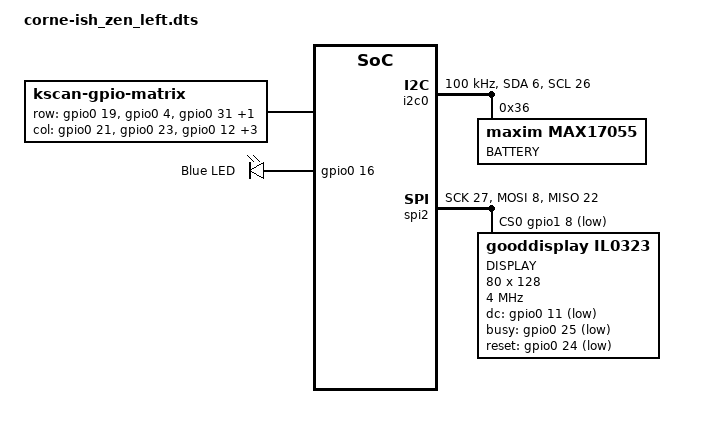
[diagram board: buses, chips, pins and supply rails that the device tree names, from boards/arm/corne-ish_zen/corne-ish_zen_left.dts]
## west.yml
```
manifest:
  remotes:
    - name: zephyrproject-rtos
      url-base: https://github.com/zephyrproject-rtos
    - name: zmkfirmware
      url-base: https://github.com/zmkfirmware
    - name: microsoft
      url-base: https://github.com/microsoft
  projects:
    - name: zephyr
      url: https://github.com/innovaker/zephyr
      revision: v2.4.0+zmk-fixes
      clone-depth: 1
      import:
        # TODO: Rename once upstream offers option like `exclude` or `denylist`
        name-blacklist:
          - ci-tools
          - hal_atmel
          - hal_altera
          - hal_cypress
          - hal_infineon
          - hal_microchip
          - hal_nxp
          - hal_openisa
          - hal_silabs
          - hal_xtensa
          - hal_st
          - hal_ti
          - loramac-node
          - mcuboot
          - mcumgr
          - net-tools
          - segger
          - openthread
          - edtt
          - trusted-firmware-m
    - name: uf2
      remote: microsoft
      path: tools/uf2
      clone-depth: 1
  self:
    west-commands: scripts/west-commands.yml
```

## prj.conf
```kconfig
# Turn on logging, and set ZMK logging to debug output
CONFIG_LOG=y
CONFIG_ZMK_LOG_LEVEL_DBG=y
CONFIG_LOG_BUFFER_SIZE=4096
CONFIG_LOG_STRDUP_BUF_COUNT=16
#CONFIG_DISPLAY_LOG_LEVEL_DBG=y
#CONFIG_SPI_LOG_LEVEL_DBG=y

# Turn on USB CDC ACM device
CONFIG_USB=y
CONFIG_USB_DEVICE_STACK=y
CONFIG_USB_CDC_ACM=y
CONFIG_USB_CDC_ACM_RINGBUF_SIZE=1024
CONFIG_USB_CDC_ACM_DEVICE_NAME="CDC_ACM"
CONFIG_USB_CDC_ACM_DEVICE_COUNT=1

# Enable serial console
CONFIG_SERIAL=y
CONFIG_CONSOLE=y
CONFIG_UART_INTERRUPT_DRIVEN=y
CONFIG_UART_LINE_CTRL=y

# Enable USB UART, and set the console device
CONFIG_UART_CONSOLE=y
CONFIG_USB_UART_CONSOLE=y
CONFIG_UART_CONSOLE_ON_DEV_NAME="CDC_ACM_0"
# CONFIG_USB_UART_DTR_WAIT=n
```

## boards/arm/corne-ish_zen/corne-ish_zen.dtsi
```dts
/*
 * Copyright (c) 2020 Darryl deHaan
 *
 * SPDX-License-Identifier: MIT
 */

/dts-v1/;
#include <nordic/nrf52840_qiaa.dtsi>

#include <dt-bindings/zmk/matrix-transform.h>

/ {
	model = "corne-ish_zen";
	compatible = "corne-ish_zen";  /*  is this needed? */

	chosen {
		zephyr,code-partition = &code_partition;
		zephyr,sram = &sram0;
		zephyr,flash = &flash0;
		zmk,kscan = &kscan0;
		zmk,matrix_transform = &default_transform;
		zmk,display = &epd;
	};

	default_transform: keymap_transform_0 {
		compatible = "zmk,matrix-transform";
		columns = <12>;
		rows = <4>;

			// | SW1  | SW2  | SW3  | SW4  | SW5  | SW6  |   | SW6  | SW5  | SW4  | SW3  | SW2  | SW1  |
			// | SW7  | SW8  | SW9  | SW10 | SW11 | SW12 |   | SW12 | SW11 | SW10 | SW9  | SW8  | SW7  |
			// | SW13 | SW14 | SW15 | SW16 | SW17 | SW18 |   | SW18 | SW17 | SW16 | SW15 | SW14 | SW13 |
			//                      | SW19 | SW20 | SW21 |   | SW21 | SW20 | SW19 |
					map = <
			RC(0,0) RC(0,1) RC(0,2) RC(0,3) RC(0,4) RC(0,5)  RC(0,6) RC(0,7) RC(0,8) RC(0,9) RC(0,10) RC(0,11)
			RC(1,0) RC(1,1) RC(1,2) RC(1,3) RC(1,4) RC(1,5)  RC(1,6) RC(1,7) RC(1,8) RC(1,9) RC(1,10) RC(1,11)
			RC(2,0) RC(2,1) RC(2,2) RC(2,3) RC(2,4) RC(2,5)  RC(2,6) RC(2,7) RC(2,8) RC(2,9) RC(2,10) RC(2,11)
									RC(3,3) RC(3,4) RC(3,5)  RC(3,6) RC(3,7) RC(3,8)
		>;
	};

	five_column_transform: keymap_transform_1 {
		compatible = "zmk,matrix-transform";
		columns = <10>;
		rows = <4>;

			// | SW2  | SW3  | SW4  | SW5  | SW6  |   | SW6  | SW5  | SW4  | SW3  | SW2  |
			// | SW8  | SW9  | SW10 | SW11 | SW12 |   | SW12 | SW11 | SW10 | SW9  | SW8  |
			// | SW14 | SW15 | SW16 | SW17 | SW18 |   | SW18 | SW17 | SW16 | SW15 | SW14 |
			//               | SW19 | SW20 | SW21 |   | SW21 | SW20 | SW19 |
					map = <
			RC(0,1) RC(0,2) RC(0,3) RC(0,4) RC(0,5)  RC(0,6) RC(0,7) RC(0,8) RC(0,9) RC(0,10)
			RC(1,1) RC(1,2) RC(1,3) RC(1,4) RC(1,5)  RC(1,6) RC(1,7) RC(1,8) RC(1,9) RC(1,10)
			RC(2,1) RC(2,2) RC(2,3) RC(2,4) RC(2,5)  RC(2,6) RC(2,7) RC(2,8) RC(2,9) RC(2,10)
									RC(3,3) RC(3,4) RC(3,5)  RC(3,6) RC(3,7) RC(3,8)
		>;
	};


	/* sensors {
		compatible = "zmk,keymap-sensors";
		sensors = <&left_encoder>;
	};

	is this needed? 
	ext-power {
		compatible = "zmk,ext-power-generic";
		label = "EXT_POWER";
		control-gpios = <&gpio0 13 GPIO_ACTIVE_LOW>;   //figure out pin 
	};

	vbatt {
		compatible = "zmk,battery-voltage-divider";  // is this needed?
		label = "BATTERY";
		io-channels = <&adc 2>;
		output-ohms = <2000000>;              // do these values need to be change? 
		full-ohms = <(2000000 + 806000)>;
	};
	*/
};


&adc {
	status = "okay";
};

&gpiote {
	status = "okay";
};

&gpio0 {
	status = "okay";
};

&gpio1 {
	status = "okay";
};

&usbd {
	status = "okay";
};

&uart0 {
	compatible = "nordic,nrf-uarte";
	status = "okay";
	current-speed = <115200>;
	tx-pin = <39>;
	rx-pin = <44>;
	rts-pin = <34>;
	cts-pin = <9>;
};


&flash0 {
	/*
	 * For more information, see:
	 * http://docs.zephyrproject.org/latest/devices/dts/flash_partitions.html
	 */
	partitions {
		compatible = "fixed-partitions";
		#address-cells = <1>;
		#size-cells = <1>;

		sd_partition: partition@0 {
			label = "softdevice";
			reg = <0x00000000 0x00026000>;
		};
		code_partition: partition@26000 {
			label = "code_partition";
			reg = <0x00026000 0x000c6000>;
		};

		/*
		 * The flash starting at 0x000ec000 and ending at
		 * 0x000f3fff is reserved for use by the application.
		 */

		/*
		 * Storage partition will be used by FCB/LittleFS/NVS
		 * if enabled.
		 */
		storage_partition: partition@ec000 {
			label = "storage";
			reg = <0x000ec000 0x00008000>;
		};

		boot_partition: partition@f4000 {
			label = "adafruit_boot";
			reg = <0x000f4000 0x0000c000>;
		};
	};
};
```

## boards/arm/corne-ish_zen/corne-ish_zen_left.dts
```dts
/*
 * Copyright (c) 2020 Darryl deHaan
 *
 * SPDX-License-Identifier: MIT
 */

#include "corne-ish_zen.dtsi"

/{
	kscan0: kscan {
		compatible = "zmk,kscan-gpio-matrix";
		label = "KSCAN";

		diode-direction = "col2row";
		row-gpios
			= <&gpio0 19 (GPIO_ACTIVE_HIGH | GPIO_PULL_DOWN)>
			, <&gpio0 4 (GPIO_ACTIVE_HIGH | GPIO_PULL_DOWN)>
			, <&gpio0 31 (GPIO_ACTIVE_HIGH | GPIO_PULL_DOWN)>
			, <&gpio0 30 (GPIO_ACTIVE_HIGH | GPIO_PULL_DOWN)>
			;

		col-gpios
			= <&gpio0 21 GPIO_ACTIVE_HIGH>
			, <&gpio0 23 GPIO_ACTIVE_HIGH>
			, <&gpio0 12 GPIO_ACTIVE_HIGH>
			, <&gpio1  9 GPIO_ACTIVE_HIGH>
			, <&gpio0  7 GPIO_ACTIVE_HIGH>
			, <&gpio0  5 GPIO_ACTIVE_HIGH>
			;	
	};

	leds {
		compatible = "gpio-leds";
		blue_led: led_0 {
			gpios = <&gpio0 16 GPIO_ACTIVE_HIGH>;
			label = "Blue LED";
		};
	};

};

&i2c0 {
	status = "ok";
	compatible = "nordic,nrf-twim";
	sda-pin = <6>;
	scl-pin = <26>;
	clock-frequency = <100000>; 

	fuelgauge: max17055@36 {
		status = "ok";
		compatible = "maxim,max17055";
		label = "BATTERY";
		reg = <0x36>;
		design-voltage = <3700>;
		desired-voltage = <4200>;
		desired-charging-current = <150>;
		rsense-mohms = <10>;
	};
};

&spi2  {
	status = "okay";
	compatible = "nordic,nrf-spim";
	sck-pin = <27>;
	mosi-pin = <8>;
	miso-pin = <22>;
	cs-gpios = <&gpio1 8 GPIO_ACTIVE_LOW>;

	epd: il0323@0 {
		compatible = "gooddisplay,il0323";
		reg =  <0>;
		label = "DISPLAY";
		width = <80>;
		height = <128>;
		spi-max-frequency = <4000000>;
		dc-gpios = <&gpio0 11 GPIO_ACTIVE_LOW>;
		busy-gpios = <&gpio0 25 GPIO_ACTIVE_LOW>;
		reset-gpios = <&gpio0 24 GPIO_ACTIVE_LOW>;
		pwr = [03 00 26 26];
		//softstart = [17 17 17 17];
		cdi = <0xd2>;
		tcon = <0x22>;
	};
};

/* 
&bt_unpair_combo {
	key-positions = <0 38>;
};
*/
```

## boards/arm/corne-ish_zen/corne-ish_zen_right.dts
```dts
/*
 * Copyright (c) 2020 Darryl deHaan
 *
 * SPDX-License-Identifier: MIT
 */

#include "corne-ish_zen.dtsi"

/{

	

	kscan0: kscan {
		compatible = "zmk,kscan-gpio-matrix";
		label = "KSCAN";

		diode-direction = "col2row";
		row-gpios
			= <&gpio0 22 (GPIO_ACTIVE_HIGH | GPIO_PULL_DOWN)>
			, <&gpio1  0 (GPIO_ACTIVE_HIGH | GPIO_PULL_DOWN)>
			, <&gpio1  3 (GPIO_ACTIVE_HIGH | GPIO_PULL_DOWN)>
			, <&gpio1  1 (GPIO_ACTIVE_HIGH | GPIO_PULL_DOWN)>
			;

		col-gpios
			= <&gpio0 19 GPIO_ACTIVE_HIGH>
			, <&gpio0 21 GPIO_ACTIVE_HIGH>
			, <&gpio0 23 GPIO_ACTIVE_HIGH>
			, <&gpio0 12 GPIO_ACTIVE_HIGH>
			, <&gpio1  9 GPIO_ACTIVE_HIGH>
			, <&gpio0  7 GPIO_ACTIVE_HIGH>
			;
		
	};

	leds {
			compatible = "gpio-leds";
			blue_led: led_0 {
				gpios = <&gpio0 26 GPIO_ACTIVE_HIGH>;
				label = "Blue LED";
			};
		};

};

&default_transform {
		col-offset = <6>;
	};

&i2c0 {
	status = "ok";
	compatible = "nordic,nrf-twim";
	sda-pin = <16>;
	scl-pin = <13>;
	clock-frequency = <100000>; 

	fuelgauge: max17055@36 {
		status = "ok";
		compatible = "maxim,max17055";
		label = "BATTERY";
		reg = <0x36>;
		design-voltage = <3700>;
		desired-voltage = <4200>;
		desired-charging-current = <150>;
		rsense-mohms = <10>;
	};
};

&spi2 {
	status = "okay";
	compatible = "nordic,nrf-spim";
	sck-pin = <20>;
	mosi-pin = <24>;
	miso-pin = <27>;
	cs-gpios = <&gpio0 17 GPIO_ACTIVE_LOW>;

	epd: il0323@0 {
		compatible = "gooddisplay,il0323";
		reg =  <0>;
		label = "DISPLAY";
		width = <80>;
		height = <128>;
		spi-max-frequency = <4000000>;
		dc-gpios = <&gpio0 15 GPIO_ACTIVE_LOW>;
		busy-gpios = <&gpio0 14 GPIO_ACTIVE_LOW>;
		reset-gpios = <&gpio0 25 GPIO_ACTIVE_LOW>;
		pwr = [03 00 26 26];
		//softstart = [17 17 17 17];
		cdi = <0xd2>;
		tcon = <0x22>;
	};
};

/*
&i2c_max17055: max17055@49 {
	compatible = "maxim,max17055";
	label = "max17055";
	reg = <0x49>;
	design-voltage = <3860>;
	desired-voltage = <4400>;
	desired-charging-current = <2000>;
	rsense-mohms = <10>;
};
*/
```

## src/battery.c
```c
/*
 * Copyright (c) 2020 The ZMK Contributors
 *
 * SPDX-License-Identifier: MIT
 */

#include <device.h>
#include <init.h>
#include <kernel.h>
#include <drivers/sensor.h>
#include <bluetooth/services/bas.h>
#include <stdio.h>

#include <logging/log.h>

LOG_MODULE_DECLARE(zmk, CONFIG_ZMK_LOG_LEVEL);

#include <zmk/event_manager.h>
#include <zmk/events/battery_state_changed.h>

const struct device *battery;

static int zmk_battery_update(const struct device *battery) {

    struct sensor_value voltage, current, state_of_charge, full_charge_capacity,
        remaining_charge_capacity, avg_power, int_temp, current_standby, current_max_load,
        state_of_health, int_ttempty, int_ttfull, chargeCyles, nominal_capacity, designed_voltage,
        desired_voltage, desired_charge_current;

    int status = 0;
    int rv = 0;

    /* use sensor API to request data from the battery */
    status = sensor_sample_fetch(battery);

    if (status != 0) {
        LOG_DBG("Failed to fetch battery data from sensor");
        return status;
    }

    struct zmk_battery_state_changed data;

    /* ---------- get channel data for State of Charge ---------- */
    status = sensor_channel_get(battery, SENSOR_CHAN_GAUGE_STATE_OF_CHARGE, &state_of_charge);

    if (status != 0 && status != -ENOTSUP) {
        LOG_DBG("Failed to get battery state of charge: %d", status);
        rv++;
    }
    if (status == -ENOTSUP) {
        LOG_DBG("The battery sensor does not support the channel: State of Charge");

    } else {
        LOG_DBG("Setting BAS GATT battery level to %d%%", state_of_charge.val1);

        /* set BAS GATT battery level so it can be displayed at the host */
        status = bt_bas_set_battery_level(state_of_charge.val1);

        if (status != 0) {
            LOG_WRN("Failed to set BAS GATT battery level (err %d)", status);
        }
        /* append this value to the event */
        data.state_of_charge = state_of_charge.val1;
        LOG_DBG("-----> battery State of Charge: %d%%", state_of_charge.val1);
    }

    /* ---------- get channel data for Voltage ---------- */
    status = sensor_channel_get(battery, SENSOR_CHAN_GAUGE_VOLTAGE, &voltage);

    if (status != 0 && status != -ENOTSUP) {
        LOG_DBG("Failed to get battery voltage: %d", status);
        rv++;
    }
    if (status == -ENOTSUP) {
        LOG_DBG("The battery sensor does not support the channel: Voltage");
    } else {
        /* append this value to the event */
        data.voltage = voltage;
        LOG_DBG("-----> battery voltage: %d.%dV", voltage.val1, voltage.val2);
    }

    /* ---------- get channel data for Average Current ---------- */
    status = sensor_channel_get(battery, SENSOR_CHAN_GAUGE_AVG_CURRENT, &current);

    if (status != 0 && status != -ENOTSUP) {
        LOG_DBG("Failed to get battery Average Current: %d", status);
        rv++;
    }
    if (status == -ENOTSUP) {
        LOG_DBG("The battery sensor does not support the channel: Average Current");
    } else {
        /* append this value to the event */
        data.current = current;
        LOG_DBG("-----> battery Average Current: %d.%dmA", current.val1, current.val2);
    }

    /* ---------- get channel data for Full Charge Capacity ---------- */
    status =
        sensor_channel_get(battery, SENSOR_CHAN_GAUGE_FULL_CHARGE_CAPACITY, &full_charge_capacity);

    if (status != 0 && status != -ENOTSUP) {
        LOG_DBG("Failed to get battery Full Charge Capacity: %d", status);
        rv++;
    }
    if (status == -ENOTSUP) {
        LOG_DBG("The battery sensor does not support the channel: Full Charge Capacity");
    } else {
        /* append this value to the event */
        data.full_charge_capacity = full_charge_capacity;
        LOG_DBG("-----> battery Full Charge Capacity: %d.%dmA", full_charge_capacity.val1,
                full_charge_capacity.val2);
    }

    /* ---------- get channel data for Remaining Charge Capacity ---------- */
    status = sensor_channel_get(battery, SENSOR_CHAN_GAUGE_REMAINING_CHARGE_CAPACITY,
                                &remaining_charge_capacity);

    if (status != 0 && status != -ENOTSUP) {
        LOG_DBG("Failed to get battery Remaining Charge Capacity: %d", status);
        rv++;
    }
    if (status == -ENOTSUP) {
        LOG_DBG("The battery sensor does not support the channel: Remaining Charge Capacity");
    } else {
        /* append this value to the event */
        data.remaining_charge_capacity = remaining_charge_capacity;
        LOG_DBG("-----> battery Remaining Charge Capacity: %d.%dmA", remaining_charge_capacity.val1,
                remaining_charge_capacity.val2);
    }

    /* ---------- get channel data for Average Power Usage ---------- */
    status = sensor_channel_get(battery, SENSOR_CHAN_GAUGE_AVG_POWER, &avg_power);

    if (status != 0 && status != -ENOTSUP) {
        LOG_DBG("Failed to get battery Average Power Usage: %d", status);
        rv++;
    }
    if (status == -ENOTSUP) {
        LOG_DBG("The battery sensor does not support the channel: Average Power Usage");
    } else {
        /* append this value to the event */
        data.avg_power = avg_power;
        LOG_DBG("-----> battery Average Power Usage: %d.%dmW", avg_power.val1, avg_power.val2);
    }

    /* ---------- get channel data for Internal IC Temperature ---------- */
    status = sensor_channel_get(battery, SENSOR_CHAN_GAUGE_TEMP, &int_temp);

    if (status != 0 && status != -ENOTSUP) {
        LOG_DBG("Failed to get Internal IC Temperature: %d", status);
        rv++;
    }
    if (status == -ENOTSUP) {
        LOG_DBG("The battery sensor does not support the channel: Internal IC Temperature");
    } else {
        /* append this value to the event */
        data.int_temp = int_temp;
        LOG_DBG("-----> battery Internal IC Temperature: %d.%d C", int_temp.val1, int_temp.val2);
    }

    /* ---------- get channel data for Standby Current ---------- */
    status = sensor_channel_get(battery, SENSOR_CHAN_GAUGE_STDBY_CURRENT, &current_standby);

    if (status != 0 && status != -ENOTSUP) {
        LOG_DBG("Failed to get battery Standby Current: %d", status);
        rv++;
    }
    if (status == -ENOTSUP) {
        LOG_DBG("The battery sensor does not support the channel: Standby Current");
    } else {
        /* append this value to the event */
        data.current_standby = current_standby;
        LOG_DBG("-----> battery Standby Current: %d.%dA", current_standby.val1,
                current_standby.val2);
    }

    /* ---------- get channel data for Maximum Load Current ---------- */
    status = sensor_channel_get(battery, SENSOR_CHAN_GAUGE_MAX_LOAD_CURRENT, &current_max_load);

    if (status != 0 && status != -ENOTSUP) {
        LOG_DBG("Failed to get battery Maximum Load Current: %d", status);
        rv++;
    }
    if (status == -ENOTSUP) {
        LOG_DBG("The battery sensor does not support the channel: Maximum Load Current");
    } else {
        /* append this value to the event */
        data.current_max_load = current_max_load;
        LOG_DBG("-----> battery Maximum Load Current: %d.%dA", current_max_load.val1,
                current_max_load.val2);
    }

    /* ---------- get channel data for State of Health ---------- */
    status = sensor_channel_get(battery, SENSOR_CHAN_GAUGE_STATE_OF_HEALTH, &state_of_health);

    if (status != 0 && status != -ENOTSUP) {
        LOG_DBG("Failed to get battery State of Health: %d", status);
        rv++;
    }
    if (status == -ENOTSUP) {
        LOG_DBG("The battery sensor does not support the channel: State of Health");
    } else {
        /* append this value to the event */
        data.state_of_health = state_of_health.val1;
        LOG_DBG("-----> battery State of Health: %d%%", state_of_health.val1);
    }

    /* ---------- get channel data for Time To Empty ---------- */
    status = sensor_channel_get(battery, SENSOR_CHAN_GAUGE_TIME_TO_EMPTY, &int_ttempty);

    if (status != 0 && status != -ENOTSUP) {
        LOG_DBG("Failed to get battery Time To Empty: %d", status);
        rv++;
    }
    if (status == -ENOTSUP) {
        LOG_DBG("The battery sensor does not support the channel: Time To Empty");
    } else {
        /* append this value to the event */
        data.time_till_empty = int_ttempty;
        LOG_DBG("-----> battery Time To Empty: %d.%dS", int_ttempty.val1, int_ttempty.val2);
    }

    /* ---------- get channel data for Time To Full ---------- */
    status = sensor_channel_get(battery, SENSOR_CHAN_GAUGE_TIME_TO_FULL, &int_ttfull);

    if (status != 0 && status != -ENOTSUP) {
        LOG_DBG("Failed to get battery Time To Full: %d", status);
        rv++;
    }
    if (status == -ENOTSUP) {
        LOG_DBG("The battery sensor does not support the channel: Time To Full");
    } else {
        /* append this value to the event */
        data.time_till_full = int_ttfull;
        LOG_DBG("-----> battery Time To Full: %d.%dS", int_ttfull.val1, int_ttfull.val2);
    }

    /* ---------- get channel data for Charge Cycle Count ---------- */
    status = sensor_channel_get(battery, SENSOR_CHAN_GAUGE_CYCLE_COUNT, &chargeCyles);

    if (status != 0 && status != -ENOTSUP) {
        LOG_DBG("Failed to get battery Charge Cycle Count: %d", status);
        rv++;
    }
    if (status == -ENOTSUP) {
        LOG_DBG("The battery sensor does not support the channel: Charge Cycle Count");
    } else {
        /* append this value to the event */
        data.chargeCyles = chargeCyles.val1 + chargeCyles.val2;
        LOG_DBG("-----> battery Charge Cycle Count: %d", chargeCyles.val1);
    }

    /* ---------- get channel data for Nominal Available Capacity ---------- */
    status = sensor_channel_get(battery, SENSOR_CHAN_GAUGE_NOM_AVAIL_CAPACITY, &nominal_capacity);

    if (status != 0 && status != -ENOTSUP) {
        LOG_DBG("Failed to get battery Nominal Available Capacity: %d", status);
        rv++;
    }
    if (status == -ENOTSUP) {
        LOG_DBG("The battery sensor does not support the channel: Nominal Available Capacity");
    } else {
        /* append this value to the event */
        data.nominal_capacity = nominal_capacity;
        LOG_DBG("-----> battery Nominal Available Capacity: %d.%dmAh", nominal_capacity.val1,
                nominal_capacity.val2);
    }

    /* ---------- get channel data for System Designed Voltage ---------- */
    status = sensor_channel_get(battery, SENSOR_CHAN_GAUGE_DESIGN_VOLTAGE, &designed_voltage);

    if (status != 0 && status != -ENOTSUP) {
        LOG_DBG("Failed to get battery System Designed Voltage: %d", status);
        rv++;
    }
    if (status == -ENOTSUP) {
        LOG_DBG("The battery sensor does not support the channel: System Designed Voltage");
    } else {
        /* append this value to the event */
        data.designed_voltage = designed_voltage;
        LOG_DBG("-----> battery System Designed Voltage: %d.%dV", designed_voltage.val1,
                designed_voltage.val2);
    }

    /* ---------- get channel data for System Desired Voltage ---------- */
    status = sensor_channel_get(battery, SENSOR_CHAN_GAUGE_DESIRED_VOLTAGE, &desired_voltage);

    if (status != 0 && status != -ENOTSUP) {
        LOG_DBG("Failed to get battery System Desired Voltage: %d", status);
        rv++;
    }
    if (status == -ENOTSUP) {
        LOG_DBG("The battery sensor does not support the channel: System Desired Voltage");
    } else {
        /* append this value to the event */
        data.desired_voltage = desired_voltage;
        LOG_DBG("-----> battery System Desired Voltage: %d.%dV", desired_voltage.val1,
                desired_voltage.val2);
    }

    /* ---------- get channel data for System Desired Charging Current ---------- */
    status = sensor_channel_get(battery, SENSOR_CHAN_GAUGE_DESIRED_CHARGING_CURRENT,
                                &desired_charge_current);

    if (status != 0 && status != -ENOTSUP) {
        LOG_DBG("Failed to get battery System Desired Charging Current: %d", status);
        rv++;
    }
    if (status == -ENOTSUP) {
        LOG_DBG("The battery sensor does not support the channel: System Desired Charging Current");
    } else {
        /* append this value to the event */
        data.desired_charge_current = desired_charge_current;
        LOG_DBG("-----> battery System Desired Charging Current: %d.%dmAh",
                desired_charge_current.val1, desired_charge_current.val2);
    }

    /* trigger event to notify of battery sensor value changes */
    ZMK_EVENT_RAISE(new_zmk_battery_state_changed(data));

    return rv;
}

static void zmk_battery_work(struct k_work *work) {
    int rc = zmk_battery_update(battery);

    if (rc != 0) {
        LOG_DBG("Failed to update battery value: %d.", rc);
    }
}

K_WORK_DEFINE(battery_work, zmk_battery_work);

static void zmk_battery_timer(struct k_timer *timer) { k_work_submit(&battery_work); }

K_TIMER_DEFINE(battery_timer, zmk_battery_timer, NULL);

static int zmk_battery_init(const struct device *_arg) {

    LOG_DBG("--- initialization ---");

    battery = device_get_binding("BATTERY");

    if (battery == NULL) {
        LOG_DBG("No device labelled 'BATTERY' found; did initialization fail?");
        return -ENODEV;
    }

    LOG_DBG("--- Device labelled 'BATTERY' found! ---");

    int rc = zmk_battery_update(battery);

    if (rc != 0) {
        LOG_DBG("%d configured BATTERY values failed to update.", rc);
        return rc;
    }

    k_timer_start(&battery_timer, K_MINUTES(1), K_MINUTES(1));

    return 0;
}

SYS_INIT(zmk_battery_init, APPLICATION, CONFIG_APPLICATION_INIT_PRIORITY);
```

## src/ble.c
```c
/*
 * Copyright (c) 2020 The ZMK Contributors
 *
 * SPDX-License-Identifier: MIT
 */

#include <device.h>
#include <init.h>

#include <math.h>
#include <stdlib.h>
#include <stdio.h>

#include <settings/settings.h>
#include <bluetooth/bluetooth.h>
#include <bluetooth/conn.h>
#include <bluetooth/hci.h>
#include <bluetooth/uuid.h>
#include <bluetooth/gatt.h>
#include <bluetooth/hci_err.h>

#if IS_ENABLED(CONFIG_SETTINGS)

#include <settings/settings.h>

#endif

#include <logging/log.h>

LOG_MODULE_DECLARE(zmk, CONFIG_ZMK_LOG_LEVEL);

#include <zmk/ble.h>
#include <zmk/keys.h>
#include <zmk/split/bluetooth/uuid.h>
#include <zmk/event-manager.h>
#include <zmk/events/ble-active-profile-changed.h>

static struct bt_conn *auth_passkey_entry_conn;
static uint8_t passkey_entries[6] = {0, 0, 0, 0, 0, 0};
static uint8_t passkey_digit = 0;

#if IS_ENABLED(CONFIG_ZMK_SPLIT_BLE_ROLE_CENTRAL)
#define PROFILE_COUNT (CONFIG_BT_MAX_PAIRED - 1)
#else
#define PROFILE_COUNT CONFIG_BT_MAX_PAIRED
#endif

enum advertising_type {
    ZMK_ADV_NONE,
    ZMK_ADV_DIR,
    ZMK_ADV_CONN,
} advertising_status;

#define CURR_ADV(adv) (adv << 4)

#define ZMK_ADV_CONN_NAME                                                                          \
    BT_LE_ADV_PARAM(BT_LE_ADV_OPT_CONNECTABLE | BT_LE_ADV_OPT_ONE_TIME, BT_GAP_ADV_FAST_INT_MIN_2, \
                    BT_GAP_ADV_FAST_INT_MAX_2, NULL)

static struct zmk_ble_profile profiles[PROFILE_COUNT];
static uint8_t active_profile;

#define DEVICE_NAME CONFIG_BT_DEVICE_NAME
#define DEVICE_NAME_LEN (sizeof(DEVICE_NAME) - 1)

static const struct bt_data zmk_ble_ad[] = {
#if !IS_ENABLED(CONFIG_ZMK_SPLIT_BLE_ROLE_PERIPHERAL)
    BT_DATA(BT_DATA_NAME_COMPLETE, DEVICE_NAME, DEVICE_NAME_LEN),
    BT_DATA_BYTES(BT_DATA_GAP_APPEARANCE, 0xC1, 0x03),
#endif
    BT_DATA_BYTES(BT_DATA_FLAGS, (BT_LE_AD_GENERAL | BT_LE_AD_NO_BREDR)),
    BT_DATA_BYTES(BT_DATA_UUID16_SOME,
#if !IS_ENABLED(CONFIG_ZMK_SPLIT_BLE_ROLE_PERIPHERAL)
                  0x12, 0x18, /* HID Service */
#endif
                  0x0f, 0x18 /* Battery Service */
                  ),
#if IS_ENABLED(CONFIG_ZMK_SPLIT_BLE_ROLE_PERIPHERAL)
    BT_DATA_BYTES(BT_DATA_UUID128_ALL, ZMK_SPLIT_BT_SERVICE_UUID)
#endif
};

#if IS_ENABLED(CONFIG_ZMK_SPLIT_BLE_ROLE_CENTRAL)

static bt_addr_le_t peripheral_addr;

#endif /* IS_ENABLED(CONFIG_ZMK_SPLIT_BLE_ROLE_CENTRAL) */

static void raise_profile_changed_event() {
    struct ble_active_profile_changed *ev = new_ble_active_profile_changed();
    ev->index = active_profile;
    ev->profile = &profiles[active_profile];

    ZMK_EVENT_RAISE(ev);
}

static void raise_profile_changed_event_callback(struct k_work *work) {
    raise_profile_changed_event();
}

K_WORK_DEFINE(raise_profile_changed_event_work, raise_profile_changed_event_callback);

bool zmk_ble_active_profile_is_open() {
    return !bt_addr_le_cmp(&profiles[active_profile].peer, BT_ADDR_LE_ANY);
}

void set_profile_address(uint8_t index, const bt_addr_le_t *addr) {
    char setting_name[15];
    char addr_str[BT_ADDR_LE_STR_LEN];

    bt_addr_le_to_str(addr, addr_str, sizeof(addr_str));

    memcpy(&profiles[index].peer, addr, sizeof(bt_addr_le_t));
    sprintf(setting_name, "ble/profiles/%d", index);
    LOG_DBG("Setting profile addr for %s to %s", log_strdup(setting_name), log_strdup(addr_str));
    settings_save_one(setting_name, &profiles[index], sizeof(struct zmk_ble_profile));
    raise_profile_changed_event();
}

bool zmk_ble_active_profile_is_connected() {
    struct bt_conn *conn;
    bt_addr_le_t *addr = zmk_ble_active_profile_addr();
    if (!bt_addr_le_cmp(addr, BT_ADDR_LE_ANY)) {
        return false;
    } else if ((conn = bt_conn_lookup_addr_le(BT_ID_DEFAULT, addr)) == NULL) {
        return false;
    }

    bt_conn_unref(conn);

    return true;
}

#define CHECKED_ADV_STOP()                                                                         \
    err = bt_le_adv_stop();                                                                        \
    advertising_status = ZMK_ADV_NONE;                                                             \
    if (err) {                                                                                     \
        LOG_ERR("Failed to stop advertising (err %d)", err);                                       \
        return err;                                                                                \
    }

#define CHECKED_DIR_ADV()                                                                          \
    addr = zmk_ble_active_profile_addr();                                                          \
    conn = bt_conn_lookup_addr_le(BT_ID_DEFAULT, addr);                                            \
    if (conn != NULL) { /* TODO: Check status of connection */                                     \
        LOG_DBG("Skipping advertising, profile host is already connected");                        \
        bt_conn_unref(conn);                                                                       \
        return 0;                                                                                  \
    }                                                                                              \
    err = bt_le_adv_start(BT_LE_ADV_CONN_DIR_LOW_DUTY(addr), zmk_ble_ad, ARRAY_SIZE(zmk_ble_ad),   \
                          NULL, 0);                                                                \
    if (err) {                                                                                     \
        LOG_ERR("Advertising failed to start (err %d)", err);                                      \
        return err;                                                                                \
    }                                                                                              \
    advertising_status = ZMK_ADV_DIR;

#define CHECKED_OPEN_ADV()                                                                         \
    err = bt_le_adv_start(ZMK_ADV_CONN_NAME, zmk_ble_ad, ARRAY_SIZE(zmk_ble_ad), NULL, 0);         \
    if (err) {                                                                                     \
        LOG_ERR("Advertising failed to start (err %d)", err);                                      \
        return err;                                                                                \
    }                                                                                              \
    advertising_status = ZMK_ADV_CONN;

int update_advertising() {
    int err = 0;
    bt_addr_le_t *addr;
    struct bt_conn *conn;
    enum advertising_type desired_adv = ZMK_ADV_NONE;

    if (zmk_ble_active_profile_is_open()) {
        desired_adv = ZMK_ADV_CONN;
    } else if (!zmk_ble_active_profile_is_connected()) {
        desired_adv = ZMK_ADV_CONN;
        // Need to fix directed advertising for privacy centrals. See
        // https://github.com/zephyrproject-rtos/zephyr/pull/14984 char
        // addr_str[BT_ADDR_LE_STR_LEN]; bt_addr_le_to_str(zmk_ble_active_profile_addr(), addr_str,
        // sizeof(addr_str));

        // LOG_DBG("Directed advertising to %s", log_strdup(addr_str));
        // desired_adv = ZMK_ADV_DIR;
    }
    LOG_DBG("advertising from %d to %d", advertising_status, desired_adv);

    switch (desired_adv + CURR_ADV(advertising_status)) {
    case ZMK_ADV_NONE + CURR_ADV(ZMK_ADV_DIR):
    case ZMK_ADV_NONE + CURR_ADV(ZMK_ADV_CONN):
        CHECKED_ADV_STOP();
        break;
    case ZMK_ADV_DIR + CURR_ADV(ZMK_ADV_DIR):
    case ZMK_ADV_DIR + CURR_ADV(ZMK_ADV_CONN):
        CHECKED_ADV_STOP();
        CHECKED_DIR_ADV();
        break;
    case ZMK_ADV_DIR + CURR_ADV(ZMK_ADV_NONE):
        CHECKED_DIR_ADV();
        break;
    case ZMK_ADV_CONN + CURR_ADV(ZMK_ADV_DIR):
        CHECKED_ADV_STOP();
        CHECKED_OPEN_ADV();
        break;
    case ZMK_ADV_CONN + CURR_ADV(ZMK_ADV_NONE):
        CHECKED_OPEN_ADV();
        break;
    }

    return 0;
};

static void update_advertising_callback(struct k_work *work) { update_advertising(); }

K_WORK_DEFINE(update_advertising_work, update_advertising_callback);

int zmk_ble_clear_bonds() {
    LOG_DBG("");

    if (bt_addr_le_cmp(&profiles[active_profile].peer, BT_ADDR_LE_ANY)) {
        LOG_DBG("Unpairing!");
        bt_unpair(BT_ID_DEFAULT, &profiles[active_profile].peer);
        set_profile_address(active_profile, BT_ADDR_LE_ANY);
    }

    update_advertising();

    return 0;
};

int zmk_ble_active_profile_index() { return active_profile; }

int zmk_ble_prof_select(uint8_t index) {
    LOG_DBG("profile %d", index);
    if (active_profile == index) {
        return 0;
    }

    active_profile = index;
    settings_save_one("ble/active_profile", &active_profile, sizeof(active_profile));

    update_advertising();

    raise_profile_changed_event();

    return 0;
};

int zmk_ble_prof_next() {
    LOG_DBG("");
    return zmk_ble_prof_select((active_profile + 1) % PROFILE_COUNT);
};

int zmk_ble_prof_prev() {
    LOG_DBG("");
    return zmk_ble_prof_select((active_profile + PROFILE_COUNT - 1) % PROFILE_COUNT);
};

bt_addr_le_t *zmk_ble_active_profile_addr() { return &profiles[active_profile].peer; }

char *zmk_ble_active_profile_name() { return profiles[active_profile].name; }

#if IS_ENABLED(CONFIG_ZMK_SPLIT_BLE_ROLE_CENTRAL)

void zmk_ble_set_peripheral_addr(bt_addr_le_t *addr) {
    memcpy(&peripheral_addr, addr, sizeof(bt_addr_le_t));
    settings_save_one("ble/peripheral_address", addr, sizeof(bt_addr_le_t));
}

#endif /* IS_ENABLED(CONFIG_ZMK_SPLIT_BLE_ROLE_CENTRAL) */

#if IS_ENABLED(CONFIG_SETTINGS)

static int ble_profiles_handle_set(const char *name, size_t len, settings_read_cb read_cb,
                                   void *cb_arg) {
    const char *next;

    LOG_DBG("Setting BLE value %s", log_strdup(name));

    if (settings_name_steq(name, "profiles", &next) && next) {
        char *endptr;
        uint8_t idx = strtoul(next, &endptr, 10);
        if (*endptr != '\0') {
            LOG_WRN("Invalid profile index: %s", log_strdup(next));
            return -EINVAL;
        }

        if (len != sizeof(struct zmk_ble_profile)) {
            LOG_ERR("Invalid profile size (got %d expected %d)", len,
                    sizeof(struct zmk_ble_profile));
            return -EINVAL;
        }

        if (idx >= PROFILE_COUNT) {
            LOG_WRN("Profile address for index %d is larger than max of %d", idx, PROFILE_COUNT);
            return -EINVAL;
        }

        int err = read_cb(cb_arg, &profiles[idx], sizeof(struct zmk_ble_profile));
        if (err <= 0) {
            LOG_ERR("Failed to handle profile address from settings (err %d)", err);
            return err;
        }

        char addr_str[BT_ADDR_LE_STR_LEN];
        bt_addr_le_to_str(&profiles[idx].peer, addr_str, sizeof(addr_str));

        LOG_DBG("Loaded %s address for profile %d", log_strdup(addr_str), idx);
    } else if (settings_name_steq(name, "active_profile", &next) && !next) {
        if (len != sizeof(active_profile)) {
            return -EINVAL;
        }

        int err = read_cb(cb_arg, &active_profile, sizeof(active_profile));
        if (err <= 0) {
            LOG_ERR("Failed to handle active profile from settings (err %d)", err);
            return err;
        }
    }
#if IS_ENABLED(CONFIG_ZMK_SPLIT_BLE_ROLE_CENTRAL)
    else if (settings_name_steq(name, "peripheral_address", &next) && !next) {
        if (len != sizeof(bt_addr_le_t)) {
            return -EINVAL;
        }

        int err = read_cb(cb_arg, &peripheral_addr, sizeof(bt_addr_le_t));
        if (err <= 0) {
            LOG_ERR("Failed to handle peripheral address from settings (err %d)", err);
            return err;
        }
    }
#endif

    return 0;
};

struct settings_handler profiles_handler = {.name = "ble", .h_set = ble_profiles_handle_set};
#endif /* IS_ENABLED(CONFIG_SETTINGS) */

static bool is_conn_active_profile(const struct bt_conn *conn) {
    return bt_addr_le_cmp(bt_conn_get_dst(conn), &profiles[active_profile].peer) == 0;
}

static void connected(struct bt_conn *conn, uint8_t err) {
    char addr[BT_ADDR_LE_STR_LEN];
    bt_addr_le_to_str(bt_conn_get_dst(conn), addr, sizeof(addr));

    advertising_status = ZMK_ADV_NONE;

    if (err) {
        LOG_WRN("Failed to connect to %s (%u)", log_strdup(addr), err);
        update_advertising();
        return;
    }

    LOG_DBG("Connected %s", log_strdup(addr));

    bt_conn_le_param_update(conn, BT_LE_CONN_PARAM(0x0006, 0x000c, 30, 400));

#if IS_ENABLED(CONFIG_ZMK_SPLIT_BLE_ROLE_PERIPHERAL)
    bt_conn_le_phy_update(conn, BT_CONN_LE_PHY_PARAM_2M);
#endif

    if (bt_conn_set_security(conn, BT_SECURITY_L2)) {
        LOG_ERR("Failed to set security");
    }

    update_advertising();

    if (is_conn_active_profile(conn)) {
        LOG_DBG("Active profile connected");
        raise_profile_changed_event();
    }
}

static void disconnected(struct bt_conn *conn, uint8_t reason) {
    char addr[BT_ADDR_LE_STR_LEN];

    bt_addr_le_to_str(bt_conn_get_dst(conn), addr, sizeof(addr));

    LOG_DBG("Disconnected from %s (reason 0x%02x)", log_strdup(addr), reason);

    // We need to do this in a work callback, otherwise the advertising update will still see the
    // connection for a profile as active, and not start advertising yet.
    k_work_submit(&update_advertising_work);

    if (is_conn_active_profile(conn)) {
        LOG_DBG("Active profile disconnected");
        k_work_submit(&raise_profile_changed_event_work);
    }
}

static void security_changed(struct bt_conn *conn, bt_security_t level, enum bt_security_err err) {
    char addr[BT_ADDR_LE_STR_LEN];

    bt_addr_le_to_str(bt_conn_get_dst(conn), addr, sizeof(addr));

    if (!err) {
        LOG_DBG("Security changed: %s level %u", log_strdup(addr), level);
    } else {
        LOG_ERR("Security failed: %s level %u err %d", log_strdup(addr), level, err);
    }
}

static struct bt_conn_cb conn_callbacks = {
    .connected = connected,
    .disconnected = disconnected,
    .security_changed = security_changed,
};

/*
static void auth_passkey_display(struct bt_conn *conn, unsigned int passkey) {
    char addr[BT_ADDR_LE_STR_LEN];

    bt_addr_le_to_str(bt_conn_get_dst(conn), addr, sizeof(addr));

    LOG_DBG("Passkey for %s: %06u", log_strdup(addr), passkey);
}
*/

#ifdef CONFIG_ZMK_BLE_PASSKEY_ENTRY

static void auth_passkey_entry(struct bt_conn *conn) {
    char addr[BT_ADDR_LE_STR_LEN];

    bt_addr_le_to_str(bt_conn_get_dst(conn), addr, sizeof(addr));

    LOG_DBG("Passkey entry requested for %s", log_strdup(addr));
    auth_passkey_entry_conn = bt_conn_ref(conn);
}

#endif

static void auth_cancel(struct bt_conn *conn) {
    char addr[BT_ADDR_LE_STR_LEN];

    bt_addr_le_to_str(bt_conn_get_dst(conn), addr, sizeof(addr));

    if (auth_passkey_entry_conn) {
        bt_conn_unref(auth_passkey_entry_conn);
        auth_passkey_entry_conn = NULL;
    }

    passkey_digit = 0;

    LOG_DBG("Pairing cancelled: %s", log_strdup(addr));
}

#if !IS_ENABLED(CONFIG_ZMK_SPLIT_BLE_ROLE_PERIPHERAL)
static enum bt_security_err auth_pairing_accept(struct bt_conn *conn,
                                                const struct bt_conn_pairing_feat *const feat) {
    struct bt_conn_info info;
    bt_conn_get_info(conn, &info);

    LOG_DBG("role %d, open? %s", info.role, zmk_ble_active_profile_is_open() ? "yes" : "no");
    if (info.role == BT_CONN_ROLE_SLAVE && !zmk_ble_active_profile_is_open()) {
        LOG_WRN("Rejecting pairing request to taken profile %d", active_profile);
        return BT_SECURITY_ERR_PAIR_NOT_ALLOWED;
    }

    return BT_SECURITY_ERR_SUCCESS;
};
#endif /* !IS_ENABLED(CONFIG_ZMK_SPLIT_BLE_ROLE_PERIPHERAL) */

static void auth_pairing_complete(struct bt_conn *conn, bool bonded) {
    struct bt_conn_info info;
    char addr[BT_ADDR_LE_STR_LEN];
    const bt_addr_le_t *dst = bt_conn_get_dst(conn);

    bt_addr_le_to_str(dst, addr, sizeof(addr));
    bt_conn_get_info(conn, &info);

    if (info.role != BT_CONN_ROLE_SLAVE) {
        LOG_DBG("SKIPPING FOR ROLE %d", info.role);
        return;
    }

#if !IS_ENABLED(CONFIG_ZMK_SPLIT_BLE_ROLE_PERIPHERAL)
    if (!zmk_ble_active_profile_is_open()) {
        LOG_ERR("Pairing completed but current profile is not open: %s", log_strdup(addr));
        bt_unpair(BT_ID_DEFAULT, dst);
        return;
    }
#endif /* !IS_ENABLED(CONFIG_ZMK_SPLIT_BLE_ROLE_PERIPHERAL) */

    set_profile_address(active_profile, dst);
    update_advertising();
};

static struct bt_conn_auth_cb zmk_ble_auth_cb_display = {
#if !IS_ENABLED(CONFIG_ZMK_SPLIT_BLE_ROLE_PERIPHERAL)
    .pairing_accept = auth_pairing_accept,
#endif /* !IS_ENABLED(CONFIG_ZMK_SPLIT_BLE_ROLE_PERIPHERAL) */
    .pairing_complete = auth_pairing_complete,
// .passkey_display = auth_passkey_display,

#ifdef CONFIG_ZMK_BLE_PASSKEY_ENTRY
    .passkey_entry = auth_passkey_entry,
#endif
    .cancel = auth_cancel,
};

static void zmk_ble_ready(int err) {
    LOG_DBG("ready? %d", err);
    if (err) {
        LOG_ERR("Bluetooth init failed (err %d)", err);
        return;
    }

    update_advertising();
}

static int zmk_ble_init(const struct device *_arg) {
    int err = bt_enable(NULL);

    if (err) {
        LOG_ERR("BLUETOOTH FAILED (%d)", err);
        return err;
    }

#if IS_ENABLED(CONFIG_SETTINGS)
    settings_subsys_init();

    err = settings_register(&profiles_handler);
    if (err) {
        LOG_ERR("Failed to setup the profile settings handler (err %d)", err);
        return err;
    }

    settings_load();

#endif

#if IS_ENABLED(CONFIG_ZMK_BLE_CLEAR_BONDS_ON_START)
    LOG_WRN("Clearing all existing BLE bond information from the keyboard");

    for (int i = 0; i < 10; i++) {
        bt_unpair(i, NULL);
    }

    for (int i = 0; i < PROFILE_COUNT; i++) {
        char setting_name[15];
        sprintf(setting_name, "ble/profiles/%d", i);

        err = settings_delete(setting_name);
        if (err) {
            LOG_ERR("Failed to delete setting: %d", err);
        }
    }
#endif

    bt_conn_cb_register(&conn_callbacks);
    bt_conn_auth_cb_register(&zmk_ble_auth_cb_display);

    zmk_ble_ready(0);

    return 0;
}

int zmk_ble_unpair_all() {
    int resp = 0;
    for (int i = BT_ID_DEFAULT; i < CONFIG_BT_ID_MAX; i++) {

        int err = bt_unpair(BT_ID_DEFAULT, NULL);
        if (err) {
            resp = err;
            LOG_ERR("Failed to unpair devices (err %d)", err);
        }
    }

    return resp;
};

bool zmk_ble_handle_key_user(struct zmk_key_event *key_event) {
    zmk_key key = key_event->key;

    if (!auth_passkey_entry_conn) {
        return true;
    }

    if (key < NUMBER_1 || key > NUMBER_0) {
        return true;
    }

    uint32_t val = (key == NUMBER_0) ? 0 : (key - NUMBER_1 + 1);

    passkey_entries[passkey_digit++] = val;

    if (passkey_digit == 6) {
        uint32_t passkey = 0;
        for (int i = 5; i >= 0; i--) {
            passkey = (passkey * 10) + val;
        }
        bt_conn_auth_passkey_entry(auth_passkey_entry_conn, passkey);
        bt_conn_unref(auth_passkey_entry_conn);
        auth_passkey_entry_conn = NULL;
    }

    return false;
}

SYS_INIT(zmk_ble_init, APPLICATION, CONFIG_ZMK_BLE_INIT_PRIORITY);
```
